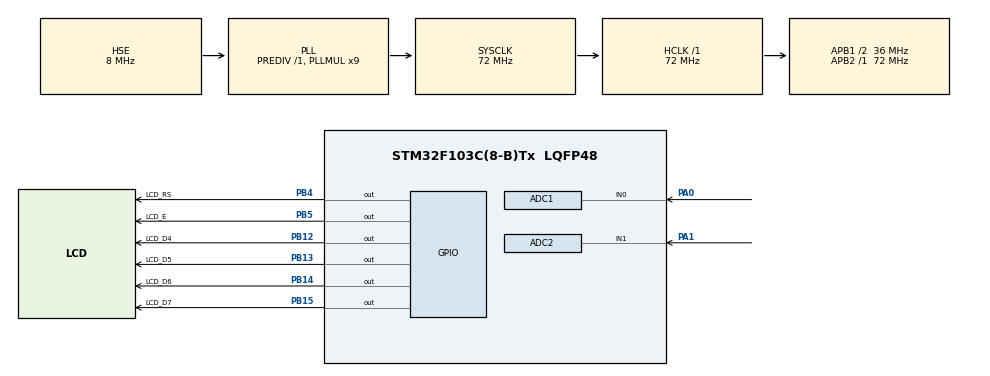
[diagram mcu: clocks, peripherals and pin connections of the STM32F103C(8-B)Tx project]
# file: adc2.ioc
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ADC1.Channel-0\#ChannelRegularConversion=ADC_CHANNEL_0
ADC1.ContinuousConvMode=DISABLE
ADC1.DataAlign=ADC_DATAALIGN_RIGHT
ADC1.DiscontinuousConvMode=DISABLE
ADC1.EnableAnalogWatchDog=false
ADC1.EnableRegularConversion=ENABLE
ADC1.ExternalTrigConv=ADC_SOFTWARE_START
ADC1.InjNumberOfConversion=0
ADC1.NbrOfConversion=1
ADC1.NbrOfConversionFlag=1
ADC1.Rank-0\#ChannelRegularConversion=1
ADC1.SamplingTime-0\#ChannelRegularConversion=ADC_SAMPLETIME_1CYCLE_5
ADC1.ScanConvMode=ADC_SCAN_DISABLE
ADC1.master=1
ADC2.Channel-0\#ChannelRegularConversion=ADC_CHANNEL_1
ADC2.ContinuousConvMode=DISABLE
ADC2.DataAlign=ADC_DATAALIGN_RIGHT
ADC2.DiscontinuousConvMode=DISABLE
ADC2.EnableAnalogWatchDog=false
ADC2.EnableRegularConversion=ENABLE
ADC2.ExternalTrigConv=ADC_SOFTWARE_START
ADC2.InjNumberOfConversion=0
ADC2.NbrOfConversion=1
ADC2.NbrOfConversionFlag=1
ADC2.Rank-0\#ChannelRegularConversion=1
ADC2.SamplingTime-0\#ChannelRegularConversion=ADC_SAMPLETIME_1CYCLE_5
ADC2.ScanConvMode=ADC_SCAN_DISABLE
Mcu.Family=STM32F1
Mcu.Name=STM32F103C(8-B)Tx
Mcu.Package=LQFP48
NVIC.PriorityGroup=NVIC_PRIORITYGROUP_4
PA0-WKUP.Signal=ADCx_IN0
PA1.Signal=ADCx_IN1
PA13.Mode=Serial_Wire
PA13.Signal=SYS_JTMS-SWDIO
PA14.Mode=Serial_Wire
PA14.Signal=SYS_JTCK-SWCLK
PB12.GPIO_Label=LCD_D4
PB12.Signal=GPIO_Output
PB13.GPIO_Label=LCD_D5
PB13.Signal=GPIO_Output
PB14.GPIO_Label=LCD_D6
PB14.Signal=GPIO_Output
PB15.GPIO_Label=LCD_D7
PB15.Signal=GPIO_Output
PB4.GPIO_Label=LCD_RS
PB4.Signal=GPIO_Output
PB5.GPIO_Label=LCD_E
PB5.Signal=GPIO_Output
PD0-OSC_IN.Mode=HSE-External-Oscillator
PD0-OSC_IN.Signal=RCC_OSC_IN
PD1-OSC_OUT.Mode=HSE-External-Oscillator
PD1-OSC_OUT.Signal=RCC_OSC_OUT
ProjectManager.HeapSize=0x200
ProjectManager.StackSize=0x400
ProjectManager.TargetToolchain=SW4STM32
RCC.ADCPresc=RCC_ADCPCLK2_DIV6
RCC.AHBFreq_Value=72000000
RCC.APB1CLKDivider=RCC_HCLK_DIV2
RCC.APB1Freq_Value=36000000
RCC.APB1TimFreq_Value=72000000
RCC.APB2Freq_Value=72000000
RCC.APB2TimFreq_Value=72000000
RCC.HCLKFreq_Value=72000000
RCC.PLLMUL=RCC_PLL_MUL9
RCC.PLLSourceVirtual=RCC_PLLSOURCE_HSE
RCC.SYSCLKFreq_VALUE=72000000
RCC.SYSCLKSource=RCC_SYSCLKSOURCE_PLLCLK
RCC.USBFreq_Value=72000000
SH.ADCx_IN0.0=ADC1_IN0,IN0
SH.ADCx_IN1.0=ADC2_IN1,IN1
board=custom

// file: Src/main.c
/**
  ******************************************************************************
  * @file           : main.c
  * @brief          : Main program body
  ******************************************************************************
  ** This notice applies to any and all portions of this file
  * that are not between comment pairs USER CODE BEGIN and
  * USER CODE END. Other portions of this file, whether
  * inserted by the user or by software development tools
  * are owned by their respective copyright owners.
  *
  * COPYRIGHT(c) 2018 STMicroelectronics
  *
  * Redistribution and use in source and binary forms, with or without modification,
  * are permitted provided that the following conditions are met:
  *   1. Redistributions of source code must retain the above copyright notice,
  *      this list of conditions and the following disclaimer.
  *   2. Redistributions in binary form must reproduce the above copyright notice,
  *      this list of conditions and the following disclaimer in the documentation
  *      and/or other materials provided with the distribution.
  *   3. Neither the name of STMicroelectronics nor the names of its contributors
  *      may be used to endorse or promote products derived from this software
  *      without specific prior written permission.
  *
  * THIS SOFTWARE IS PROVIDED BY THE COPYRIGHT HOLDERS AND CONTRIBUTORS "AS IS"
  * AND ANY EXPRESS OR IMPLIED WARRANTIES, INCLUDING, BUT NOT LIMITED TO, THE
  * IMPLIED WARRANTIES OF MERCHANTABILITY AND FITNESS FOR A PARTICULAR PURPOSE ARE
  * DISCLAIMED. IN NO EVENT SHALL THE COPYRIGHT HOLDER OR CONTRIBUTORS BE LIABLE
  * FOR ANY DIRECT, INDIRECT, INCIDENTAL, SPECIAL, EXEMPLARY, OR CONSEQUENTIAL
  * DAMAGES (INCLUDING, BUT NOT LIMITED TO, PROCUREMENT OF SUBSTITUTE GOODS OR
  * SERVICES; LOSS OF USE, DATA, OR PROFITS; OR BUSINESS INTERRUPTION) HOWEVER
  * CAUSED AND ON ANY THEORY OF LIABILITY, WHETHER IN CONTRACT, STRICT LIABILITY,
  * OR TORT (INCLUDING NEGLIGENCE OR OTHERWISE) ARISING IN ANY WAY OUT OF THE USE
  * OF THIS SOFTWARE, EVEN IF ADVISED OF THE POSSIBILITY OF SUCH DAMAGE.
  *
  ******************************************************************************
  */
#include "main.h"
#include "stm32f1xx_hal.h"

/* USER CODE BEGIN Includes */
#include "hd44780.h"
/* USER CODE END Includes */

ADC_HandleTypeDef hadc1;
ADC_HandleTypeDef hadc2;

/* USER CODE BEGIN PV */
/* Private variables ---------------------------------------------------------*/

/* USER CODE END PV */

void SystemClock_Config(void);
static void MX_GPIO_Init(void);
static void MX_ADC1_Init(void);
static void MX_ADC2_Init(void);

/* USER CODE BEGIN PFP */
/* Private function prototypes -----------------------------------------------*/

/* USER CODE END PFP */

int main(void)
{
  /* USER CODE BEGIN 1 */
	uint16_t ADC1_Value, ADC2_Value;
  /* USER CODE END 1 */

  /* MCU Configuration----------------------------------------------------------*/

  /* Reset of all peripherals, Initializes the Flash interface and the Systick. */
  HAL_Init();

  /* Configure the system clock */
  SystemClock_Config();

  /* Initialize all configured peripherals */
  MX_GPIO_Init();
  MX_ADC1_Init();
  MX_ADC2_Init();
  /* USER CODE BEGIN 2 */
  HAL_Delay(100);
  lcdInit();

  /* USER CODE END 2 */

  /* Infinite loop */
  /* USER CODE BEGIN WHILE */
  while (1)
  {
	  lcdClrScr();

	  lcdGoto(LCD_1st_LINE,0);
	  lcdPuts("IN0=");

      HAL_ADC_Start(&hadc1);
      HAL_ADC_PollForConversion(&hadc1, 50);

      if(HAL_IS_BIT_SET(HAL_ADC_GetState(&hadc1), HAL_ADC_STATE_REG_EOC))
      {
          ADC1_Value = HAL_ADC_GetValue(&hadc1);
          lcdItos(ADC1_Value);
      }

	  lcdGoto(LCD_2nd_LINE,0);
	  lcdPuts("IN1=");

      HAL_ADC_Start(&hadc2);
      HAL_ADC_PollForConversion(&hadc2, 50);

      if(HAL_IS_BIT_SET(HAL_ADC_GetState(&hadc2), HAL_ADC_STATE_REG_EOC))
      {
          ADC2_Value = HAL_ADC_GetValue(&hadc2);
          lcdItos(ADC2_Value);
      }

	  HAL_Delay(1000);
  /* USER CODE END WHILE */

  }

}

void SystemClock_Config(void)
{

  RCC_OscInitTypeDef RCC_OscInitStruct;
  RCC_ClkInitTypeDef RCC_ClkInitStruct;
  RCC_PeriphCLKInitTypeDef PeriphClkInit;

    /**Initializes the CPU, AHB and APB busses clocks
    */
  RCC_OscInitStruct.OscillatorType = RCC_OSCILLATORTYPE_HSE;
  RCC_OscInitStruct.HSEState = RCC_HSE_ON;
  RCC_OscInitStruct.HSEPredivValue = RCC_HSE_PREDIV_DIV1;
  RCC_OscInitStruct.HSIState = RCC_HSI_ON;
  RCC_OscInitStruct.PLL.PLLState = RCC_PLL_ON;
  RCC_OscInitStruct.PLL.PLLSource = RCC_PLLSOURCE_HSE;
  RCC_OscInitStruct.PLL.PLLMUL = RCC_PLL_MUL9;
  if (HAL_RCC_OscConfig(&RCC_OscInitStruct) != HAL_OK)
  {
    _Error_Handler(__FILE__, __LINE__);
  }

    /**Initializes the CPU, AHB and APB busses clocks
    */
  RCC_ClkInitStruct.ClockType = RCC_CLOCKTYPE_HCLK|RCC_CLOCKTYPE_SYSCLK
                              |RCC_CLOCKTYPE_PCLK1|RCC_CLOCKTYPE_PCLK2;
  RCC_ClkInitStruct.SYSCLKSource = RCC_SYSCLKSOURCE_PLLCLK;
  RCC_ClkInitStruct.AHBCLKDivider = RCC_SYSCLK_DIV1;
  RCC_ClkInitStruct.APB1CLKDivider = RCC_HCLK_DIV2;
  RCC_ClkInitStruct.APB2CLKDivider = RCC_HCLK_DIV1;

  if (HAL_RCC_ClockConfig(&RCC_ClkInitStruct, FLASH_LATENCY_2) != HAL_OK)
  {
    _Error_Handler(__FILE__, __LINE__);
  }

  PeriphClkInit.PeriphClockSelection = RCC_PERIPHCLK_ADC;
  PeriphClkInit.AdcClockSelection = RCC_ADCPCLK2_DIV6;
  if (HAL_RCCEx_PeriphCLKConfig(&PeriphClkInit) != HAL_OK)
  {
    _Error_Handler(__FILE__, __LINE__);
  }

    /**Configure the Systick interrupt time
    */
  HAL_SYSTICK_Config(HAL_RCC_GetHCLKFreq()/1000);

    /**Configure the Systick
    */
  HAL_SYSTICK_CLKSourceConfig(SYSTICK_CLKSOURCE_HCLK);

  /* SysTick_IRQn interrupt configuration */
  HAL_NVIC_SetPriority(SysTick_IRQn, 0, 0);
}

/* ADC1 init function */
static void MX_ADC1_Init(void)
{

  ADC_ChannelConfTypeDef sConfig;

    /**Common config
    */
  hadc1.Instance = ADC1;
  hadc1.Init.ScanConvMode = ADC_SCAN_DISABLE;
  hadc1.Init.ContinuousConvMode = DISABLE;
  hadc1.Init.DiscontinuousConvMode = DISABLE;
  hadc1.Init.ExternalTrigConv = ADC_SOFTWARE_START;
  hadc1.Init.DataAlign = ADC_DATAALIGN_RIGHT;
  hadc1.Init.NbrOfConversion = 1;
  if (HAL_ADC_Init(&hadc1) != HAL_OK)
  {
    _Error_Handler(__FILE__, __LINE__);
  }

    /**Configure Regular Channel
    */
  sConfig.Channel = ADC_CHANNEL_0;
  sConfig.Rank = ADC_REGULAR_RANK_1;
  sConfig.SamplingTime = ADC_SAMPLETIME_1CYCLE_5;
  if (HAL_ADC_ConfigChannel(&hadc1, &sConfig) != HAL_OK)
  {
    _Error_Handler(__FILE__, __LINE__);
  }

}

/* ADC2 init function */
static void MX_ADC2_Init(void)
{

  ADC_ChannelConfTypeDef sConfig;

    /**Common config
    */
  hadc2.Instance = ADC2;
  hadc2.Init.ScanConvMode = ADC_SCAN_DISABLE;
  hadc2.Init.ContinuousConvMode = DISABLE;
  hadc2.Init.DiscontinuousConvMode = DISABLE;
  hadc2.Init.ExternalTrigConv = ADC_SOFTWARE_START;
  hadc2.Init.DataAlign = ADC_DATAALIGN_RIGHT;
  hadc2.Init.NbrOfConversion = 1;
  if (HAL_ADC_Init(&hadc2) != HAL_OK)
  {
    _Error_Handler(__FILE__, __LINE__);
  }

    /**Configure Regular Channel
    */
  sConfig.Channel = ADC_CHANNEL_1;
  sConfig.Rank = ADC_REGULAR_RANK_1;
  sConfig.SamplingTime = ADC_SAMPLETIME_1CYCLE_5;
  if (HAL_ADC_ConfigChannel(&hadc2, &sConfig) != HAL_OK)
  {
    _Error_Handler(__FILE__, __LINE__);
  }

}

/** Configure pins as
        * Analog
        * Input
        * Output
        * EVENT_OUT
        * EXTI
*/
static void MX_GPIO_Init(void)
{

  GPIO_InitTypeDef GPIO_InitStruct;

  /* GPIO Ports Clock Enable */
  __HAL_RCC_GPIOD_CLK_ENABLE();
  __HAL_RCC_GPIOA_CLK_ENABLE();
  __HAL_RCC_GPIOB_CLK_ENABLE();

  /*Configure GPIO pin Output Level */
  HAL_GPIO_WritePin(GPIOB, LCD_D4_Pin|LCD_D5_Pin|LCD_D6_Pin|LCD_D7_Pin
                          |LCD_RS_Pin|LCD_E_Pin, GPIO_PIN_RESET);

  /*Configure GPIO pins : LCD_D4_Pin LCD_D5_Pin LCD_D6_Pin LCD_D7_Pin
                           LCD_RS_Pin LCD_E_Pin */
  GPIO_InitStruct.Pin = LCD_D4_Pin|LCD_D5_Pin|LCD_D6_Pin|LCD_D7_Pin
                          |LCD_RS_Pin|LCD_E_Pin;
  GPIO_InitStruct.Mode = GPIO_MODE_OUTPUT_PP;
  GPIO_InitStruct.Pull = GPIO_NOPULL;
  GPIO_InitStruct.Speed = GPIO_SPEED_FREQ_LOW;
  HAL_GPIO_Init(GPIOB, &GPIO_InitStruct);

}

void _Error_Handler(char *file, int line)
{
  while(1)
  {
  }
}

/************************ (C) COPYRIGHT STMicroelectronics *****END OF FILE****/
